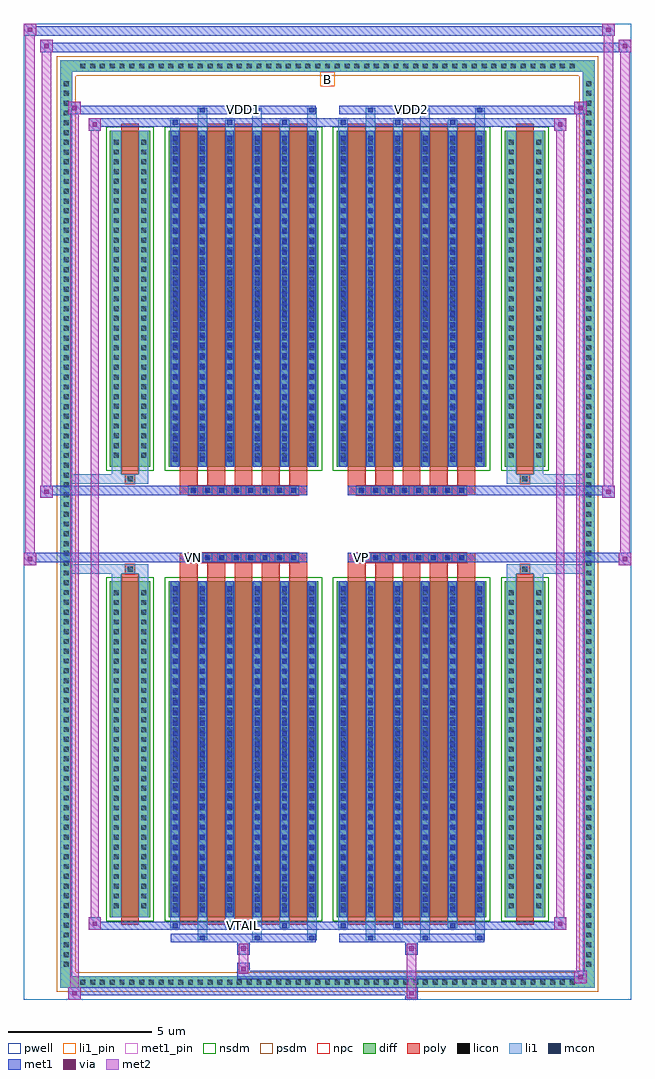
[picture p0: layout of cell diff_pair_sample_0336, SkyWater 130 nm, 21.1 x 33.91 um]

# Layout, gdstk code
import gdstk
lib = gdstk.Library(unit=1e-6, precision=5e-09)
def R(c, l, rs):  # rectangles x0, y0, x1, y1
    for r in rs: c.add(gdstk.rectangle(r[:2], r[2:], *l))
def A(c, l, x, y, w, h, nx, ny, dx, dy):  # array of equal rectangles
    R(c, l, [(x+i*dx, y+j*dy, x+i*dx+w, y+j*dy+h) for i in range(nx) for j in range(ny)])
def P(c, l, *ps):  # polygons
    for p in ps: c.add(gdstk.Polygon(p, *l))
pwell = (64, 44)
diff = (65, 20)
poly = (66, 20)
licon = (66, 44)
li1_pin = (67, 16)
li1 = (67, 20)
mcon = (67, 44)
met1_pin = (68, 16)
met1 = (68, 20)
via = (68, 44)
met2 = (69, 20)
nsdm = (93, 44)
psdm = (94, 20)
npc = (95, 20)

diff_pair_sample_0336 = lib.new_cell('diff_pair_sample_0336')
R(diff_pair_sample_0336, pwell, [(-10.55,-16.52,10.55,17.39), (-7.87,-14.71,-0.01,-0.805), (0.01,-14.71,7.87,-0.805), (-7.87,0.805,-0.01,14.71), (0.01,0.805,7.87,14.71)])
A(diff_pair_sample_0336, diff, -8.705, -16.12, 0.41, 0.41, 51, 2, 0.34, 31.83)
A(diff_pair_sample_0336, diff, -9.28, -15.505, 0.41, 0.41, 1, 91, 0, 0.34)
A(diff_pair_sample_0336, diff, 8.87, -15.505, 0.41, 0.41, 1, 91, 0, 0.34)
R(diff_pair_sample_0336, diff, [(-8.705,-16.12,8.705,-15.71), (-9.28,-15.505,-8.87,15.505), (8.87,-15.505,9.28,15.505), (-7.56,-13.665,-6.16,-1.985), (-5.52,-13.665,-0.32,-1.985), (0.32,-13.665,5.52,-1.985), (6.16,-13.665,7.56,-1.985), (-7.56,1.985,-6.16,13.665), (-5.52,1.985,-0.32,13.665), (0.32,1.985,5.52,13.665), (6.16,1.985,7.56,13.665), (-8.705,15.71,8.705,16.12)])
P(diff_pair_sample_0336, diff, [(9.28,16.12),(-9.28,16.12),(-9.28,-15.71),(-8.87,-15.71),(-8.87,15.71),(8.87,15.71),(8.87,-15.71),(-8.87,-15.71),(-9.28,-15.71),(-9.28,-16.12),(9.28,-16.12)])
A(diff_pair_sample_0336, poly, -5.13, -13.915, 0.62, 12.18, 5, 2, 0.95, 15.65)
A(diff_pair_sample_0336, poly, 0.71, -13.915, 0.62, 12.18, 5, 2, 0.95, 15.65)
A(diff_pair_sample_0336, poly, -5.13, -1.735, 0.62, 0.4, 5, 2, 0.95, 3.07)
A(diff_pair_sample_0336, poly, 0.71, -1.735, 0.62, 0.4, 5, 2, 0.95, 3.07)
A(diff_pair_sample_0336, poly, -4.835, -1.335, 0.33, 0.33, 8, 2, 0.5, 2.34)
A(diff_pair_sample_0336, poly, 1.005, -1.335, 0.33, 0.33, 8, 2, 0.5, 2.34)
R(diff_pair_sample_0336, poly, [(-7.17,-13.915,-6.55,-1.735), (6.55,-13.915,7.17,-1.735), (-7.025,-1.735,-6.695,-1.405), (-7.025,-1.735,-6.695,-1.405), (6.695,-1.735,7.025,-1.405), (6.695,-1.735,7.025,-1.405), (-5.13,-1.335,-0.71,-1.005), (0.71,-1.335,5.13,-1.005), (-5.13,1.005,-0.71,1.335), (0.71,1.005,5.13,1.335), (-7.025,1.405,-6.695,1.735), (-7.025,1.405,-6.695,1.735), (6.695,1.405,7.025,1.735), (6.695,1.405,7.025,1.735), (-7.17,1.735,-6.55,13.915), (6.55,1.735,7.17,13.915)])
A(diff_pair_sample_0336, licon, -8.585, -16, 0.17, 0.17, 51, 2, 0.34, 31.83)
A(diff_pair_sample_0336, licon, -9.16, -15.385, 0.17, 0.17, 1, 91, 0, 0.34)
A(diff_pair_sample_0336, licon, 8.99, -15.385, 0.17, 0.17, 1, 91, 0, 0.34)
A(diff_pair_sample_0336, licon, -7.42, -13.35, 0.17, 0.17, 1, 33, 0, 0.34)
A(diff_pair_sample_0336, licon, -6.47, -13.35, 0.17, 0.17, 1, 33, 0, 0.34)
A(diff_pair_sample_0336, licon, -5.38, -13.35, 0.17, 0.17, 6, 33, 0.95, 0.34)
A(diff_pair_sample_0336, licon, 0.46, -13.35, 0.17, 0.17, 6, 33, 0.95, 0.34)
A(diff_pair_sample_0336, licon, 6.3, -13.35, 0.17, 0.17, 1, 33, 0, 0.34)
A(diff_pair_sample_0336, licon, 7.25, -13.35, 0.17, 0.17, 1, 33, 0, 0.34)
A(diff_pair_sample_0336, licon, -4.755, -1.255, 0.17, 0.17, 8, 2, 0.5, 2.34)
A(diff_pair_sample_0336, licon, 1.085, -1.255, 0.17, 0.17, 8, 2, 0.5, 2.34)
A(diff_pair_sample_0336, licon, -7.42, 2.3, 0.17, 0.17, 1, 33, 0, 0.34)
A(diff_pair_sample_0336, licon, -6.47, 2.3, 0.17, 0.17, 1, 33, 0, 0.34)
A(diff_pair_sample_0336, licon, -5.38, 2.3, 0.17, 0.17, 6, 33, 0.95, 0.34)
A(diff_pair_sample_0336, licon, 0.46, 2.3, 0.17, 0.17, 6, 33, 0.95, 0.34)
A(diff_pair_sample_0336, licon, 6.3, 2.3, 0.17, 0.17, 1, 33, 0, 0.34)
A(diff_pair_sample_0336, licon, 7.25, 2.3, 0.17, 0.17, 1, 33, 0, 0.34)
R(diff_pair_sample_0336, licon, [(-6.945,-1.655,-6.775,-1.485), (6.775,-1.655,6.945,-1.485), (-6.945,1.485,-6.775,1.655), (6.775,1.485,6.945,1.655)])
R(diff_pair_sample_0336, li1_pin, [(-0.25,15.21,0.25,15.71)])
A(diff_pair_sample_0336, li1, -8.665, -16.08, 0.33, 0.33, 51, 2, 0.34, 31.83)
A(diff_pair_sample_0336, li1, -9.24, -15.465, 0.33, 0.33, 1, 91, 0, 0.34)
A(diff_pair_sample_0336, li1, 8.91, -15.465, 0.33, 0.33, 1, 91, 0, 0.34)
A(diff_pair_sample_0336, li1, -4.51, -14.47, 0.33, 0.805, 3, 2, 1.9, 28.135)
A(diff_pair_sample_0336, li1, -4.43, -14.47, 0.17, 0.17, 3, 2, 1.9, 28.77)
A(diff_pair_sample_0336, li1, 1.33, -14.47, 0.33, 0.805, 3, 2, 1.9, 28.135)
A(diff_pair_sample_0336, li1, 1.41, -14.47, 0.17, 0.17, 3, 2, 1.9, 28.77)
A(diff_pair_sample_0336, li1, -5.46, -14.04, 0.33, 0.375, 3, 2, 1.9, 27.705)
A(diff_pair_sample_0336, li1, -5.38, -14.04, 0.17, 0.17, 3, 2, 1.9, 27.91)
A(diff_pair_sample_0336, li1, 0.38, -14.04, 0.33, 0.375, 3, 2, 1.9, 27.705)
A(diff_pair_sample_0336, li1, 0.46, -14.04, 0.17, 0.17, 3, 2, 1.9, 27.91)
A(diff_pair_sample_0336, li1, -5.46, -13.665, 0.33, 11.68, 6, 2, 0.95, 15.65)
A(diff_pair_sample_0336, li1, 0.38, -13.665, 0.33, 11.68, 6, 2, 0.95, 15.65)
A(diff_pair_sample_0336, li1, -5.38, -13.49, 0.17, 0.17, 6, 32, 0.95, 0.36)
A(diff_pair_sample_0336, li1, -5.38, -13.49, 0.17, 11.33, 6, 2, 0.95, 15.65)
A(diff_pair_sample_0336, li1, 0.46, -13.49, 0.17, 0.17, 6, 32, 0.95, 0.36)
A(diff_pair_sample_0336, li1, 0.46, -13.49, 0.17, 11.33, 6, 2, 0.95, 15.65)
A(diff_pair_sample_0336, li1, -7.5, -13.43, 0.33, 0.33, 1, 33, 0, 0.34)
A(diff_pair_sample_0336, li1, -6.55, -13.43, 0.33, 0.33, 1, 33, 0, 0.34)
A(diff_pair_sample_0336, li1, -5.46, -13.43, 0.33, 0.33, 6, 33, 0.95, 0.34)
A(diff_pair_sample_0336, li1, 0.38, -13.43, 0.33, 0.33, 6, 33, 0.95, 0.34)
A(diff_pair_sample_0336, li1, 6.22, -13.43, 0.33, 0.33, 1, 33, 0, 0.34)
A(diff_pair_sample_0336, li1, 7.17, -13.43, 0.33, 0.33, 1, 33, 0, 0.34)
A(diff_pair_sample_0336, li1, -4.835, -1.335, 0.33, 0.33, 8, 2, 0.5, 2.34)
A(diff_pair_sample_0336, li1, 1.005, -1.335, 0.33, 0.33, 8, 2, 0.5, 2.34)
A(diff_pair_sample_0336, li1, -5.38, 2.16, 0.17, 0.17, 6, 32, 0.95, 0.36)
A(diff_pair_sample_0336, li1, 0.46, 2.16, 0.17, 0.17, 6, 32, 0.95, 0.36)
A(diff_pair_sample_0336, li1, -7.5, 2.22, 0.33, 0.33, 1, 33, 0, 0.34)
A(diff_pair_sample_0336, li1, -6.55, 2.22, 0.33, 0.33, 1, 33, 0, 0.34)
A(diff_pair_sample_0336, li1, -5.46, 2.22, 0.33, 0.33, 6, 33, 0.95, 0.34)
A(diff_pair_sample_0336, li1, 0.38, 2.22, 0.33, 0.33, 6, 33, 0.95, 0.34)
A(diff_pair_sample_0336, li1, 6.22, 2.22, 0.33, 0.33, 1, 33, 0, 0.34)
A(diff_pair_sample_0336, li1, 7.17, 2.22, 0.33, 0.33, 1, 33, 0, 0.34)
R(diff_pair_sample_0336, li1, [(-9.28,-16.12,-8.87,-15.71), (-9.28,-16.12,-8.87,-15.71), (-8.87,-16.12,8.87,-15.71), (8.87,-16.12,9.28,-15.71), (8.87,-16.12,9.28,-15.71), (-9.28,-15.71,-8.87,15.71), (8.87,-15.71,9.28,15.71), (-7.5,-13.665,-7.17,-1.985), (-6.55,-13.665,-6.22,-1.985), (6.22,-13.665,6.55,-1.985), (7.17,-13.665,7.5,-1.985), (-7.5,-1.985,-7.17,-1.405), (-6.55,-1.985,-6.22,-1.405), (6.22,-1.985,6.55,-1.405), (7.17,-1.985,7.5,-1.405), (-9.28,-1.735,-7.025,-1.405), (-7.5,-1.735,-7.025,-1.405), (-7.025,-1.735,-6.695,-1.405), (-6.695,-1.735,-6.22,-1.405), (6.22,-1.735,6.695,-1.405), (6.695,-1.735,7.025,-1.405), (6.695,-1.735,9.28,-1.405), (7.025,-1.735,7.5,-1.405), (-9.28,1.405,-7.025,1.735), (-7.5,1.405,-7.025,1.735), (-7.5,1.405,-7.17,1.985), (-7.025,1.405,-6.695,1.735), (-6.695,1.405,-6.22,1.735), (-6.55,1.405,-6.22,1.985), (6.22,1.405,6.695,1.735), (6.22,1.405,6.55,1.985), (6.695,1.405,7.025,1.735), (6.695,1.405,9.28,1.735), (7.025,1.405,7.5,1.735), (7.17,1.405,7.5,1.985), (-7.5,1.985,-7.17,13.665), (-6.55,1.985,-6.22,13.665), (6.22,1.985,6.55,13.665), (7.17,1.985,7.5,13.665), (-9.28,15.71,-8.87,16.12), (-9.28,15.71,-8.87,16.12), (-8.87,15.71,8.87,16.12), (8.87,15.71,9.28,16.12), (8.87,15.71,9.28,16.12)])
A(diff_pair_sample_0336, mcon, -4.43, -14.47, 0.17, 0.17, 3, 2, 1.9, 28.77)
A(diff_pair_sample_0336, mcon, 1.41, -14.47, 0.17, 0.17, 3, 2, 1.9, 28.77)
A(diff_pair_sample_0336, mcon, -5.38, -14.04, 0.17, 0.17, 3, 2, 1.9, 27.91)
A(diff_pair_sample_0336, mcon, 0.46, -14.04, 0.17, 0.17, 3, 2, 1.9, 27.91)
A(diff_pair_sample_0336, mcon, -5.38, -13.49, 0.17, 0.17, 6, 32, 0.95, 0.36)
A(diff_pair_sample_0336, mcon, 0.46, -13.49, 0.17, 0.17, 6, 32, 0.95, 0.36)
A(diff_pair_sample_0336, mcon, -4.755, -1.255, 0.17, 0.17, 8, 2, 0.5, 2.34)
A(diff_pair_sample_0336, mcon, 1.085, -1.255, 0.17, 0.17, 8, 2, 0.5, 2.34)
A(diff_pair_sample_0336, mcon, -5.38, 2.16, 0.17, 0.17, 6, 32, 0.95, 0.36)
A(diff_pair_sample_0336, mcon, 0.46, 2.16, 0.17, 0.17, 6, 32, 0.95, 0.36)
R(diff_pair_sample_0336, met1_pin, [(-3.055,-14.08,-2.785,-13.81), (-4.805,-1.295,-4.535,-1.025), (1.035,-1.295,1.305,-1.025), (-3.055,14.26,-2.785,14.53), (2.785,14.26,3.055,14.53)])
A(diff_pair_sample_0336, met1, -4.49, -14.53, 0.29, 0.29, 3, 2, 1.9, 28.77)
A(diff_pair_sample_0336, met1, 1.35, -14.53, 0.29, 0.29, 3, 2, 1.9, 28.77)
A(diff_pair_sample_0336, met1, -5.44, -14.1, 0.29, 0.29, 3, 2, 1.9, 27.91)
A(diff_pair_sample_0336, met1, 0.4, -14.1, 0.29, 0.29, 3, 2, 1.9, 27.91)
A(diff_pair_sample_0336, met1, -5.44, -13.665, 0.29, 11.68, 6, 2, 0.95, 15.65)
A(diff_pair_sample_0336, met1, 0.4, -13.665, 0.29, 11.68, 6, 2, 0.95, 15.65)
A(diff_pair_sample_0336, met1, -5.44, -13.55, 0.29, 0.29, 6, 32, 0.95, 0.36)
A(diff_pair_sample_0336, met1, 0.4, -13.55, 0.29, 0.29, 6, 32, 0.95, 0.36)
A(diff_pair_sample_0336, met1, -4.815, -1.315, 0.29, 0.29, 8, 2, 0.5, 2.34)
A(diff_pair_sample_0336, met1, 1.025, -1.315, 0.29, 0.29, 8, 2, 0.5, 2.34)
A(diff_pair_sample_0336, met1, -5.44, 2.1, 0.29, 0.29, 6, 32, 0.95, 0.36)
A(diff_pair_sample_0336, met1, 0.4, 2.1, 0.29, 0.29, 6, 32, 0.95, 0.36)
R(diff_pair_sample_0336, met1, [(-9.01,-16.52,-8.58,-16.09), (2.705,-16.52,3.135,-16.09), (-9.01,-16.38,3.135,-16.09), (8.58,-15.95,9.01,-15.52), (-3.135,-15.81,9.01,-15.52), (-3.135,-15.67,-2.705,-15.24), (-3.135,-14.96,-2.705,-14.53), (2.705,-14.96,3.135,-14.53), (-5.44,-14.53,-0.4,-14.24), (0.4,-14.53,5.44,-14.24), (-8.3,-14.1,-7.87,-13.67), (-8.3,-14.1,-5.44,-13.81), (-5.44,-14.1,-0.4,-13.81), (-0.4,-14.1,0.4,-13.81), (0.4,-14.1,5.44,-13.81), (5.44,-14.1,8.3,-13.81), (7.87,-14.1,8.3,-13.67), (-10.55,-1.435,-10.12,-1.005), (10.12,-1.435,10.55,-1.005), (-10.55,-1.335,-0.71,-1.005), (-5.13,-1.335,-0.71,-1.005), (0.71,-1.335,5.13,-1.005), (0.71,-1.335,10.55,-1.005), (-9.98,0.905,-9.55,1.335), (9.55,0.905,9.98,1.335), (-9.98,1.005,-5.13,1.335), (-5.13,1.005,-0.71,1.335), (0.71,1.005,5.13,1.335), (5.13,1.005,9.98,1.335), (-8.3,13.67,-7.87,14.1), (7.87,13.67,8.3,14.1), (-8.3,13.81,-5.44,14.1), (-5.44,13.81,-0.4,14.1), (-0.4,13.81,0.4,14.1), (0.4,13.81,5.44,14.1), (5.44,13.81,8.3,14.1), (-9.01,14.24,-8.58,14.67), (-9.01,14.24,-5.44,14.53), (-5.44,14.24,-0.4,14.53), (0.4,14.24,5.44,14.53), (5.44,14.24,9.01,14.53), (8.58,14.24,9.01,14.67), (-9.98,16.39,-9.55,16.82), (-9.98,16.39,-7.87,16.72), (-7.87,16.39,7.87,16.72), (7.87,16.39,10.55,16.72), (10.12,16.39,10.55,16.82), (-10.55,16.96,-10.12,17.39), (-10.55,16.96,-7.87,17.29), (-7.87,16.96,7.87,17.29), (7.87,16.96,9.98,17.29), (9.55,16.96,9.98,17.39)])
R(diff_pair_sample_0336, via, [(-8.87,-16.38,-8.72,-16.23), (2.845,-16.38,2.995,-16.23), (8.72,-15.81,8.87,-15.66), (-2.995,-15.53,-2.845,-15.38), (-2.995,-14.82,-2.845,-14.67), (2.845,-14.82,2.995,-14.67), (-8.16,-13.96,-8.01,-13.81), (8.01,-13.96,8.16,-13.81), (-10.41,-1.295,-10.26,-1.145), (10.26,-1.295,10.41,-1.145), (-9.84,1.045,-9.69,1.195), (9.69,1.045,9.84,1.195), (-8.16,13.81,-8.01,13.96), (8.01,13.81,8.16,13.96), (-8.87,14.38,-8.72,14.53), (8.72,14.38,8.87,14.53), (-9.84,16.53,-9.69,16.68), (10.26,16.53,10.41,16.68), (-10.41,17.1,-10.26,17.25), (9.69,17.1,9.84,17.25)])
R(diff_pair_sample_0336, met2, [(-9.01,-16.52,-8.58,-16.09), (-8.94,-16.52,-8.65,14.67), (-8.65,-16.52,-8.58,-16.09), (-8.96,-16.47,-8.63,-16.14), (2.755,-16.47,3.085,-16.14), (2.755,-16.14,3.085,-14.91), (8.58,-15.95,9.01,-15.52), (8.65,-15.95,8.94,14.67), (8.94,-15.95,9.01,-15.52), (8.63,-15.9,8.96,-15.57), (-3.085,-15.62,-2.755,-15.29), (-3.085,-15.29,-2.755,-14.91), (-3.085,-14.91,-2.755,-14.58), (2.755,-14.91,3.085,-14.58), (-8.3,-14.1,-7.87,-13.67), (-8.23,-14.1,-7.94,14.1), (-7.94,-14.1,-7.87,-13.67), (7.87,-14.1,8.3,-13.67), (7.94,-14.1,8.23,14.1), (8.23,-14.1,8.3,-13.67), (-8.25,-14.05,-7.92,-13.72), (7.92,-14.05,8.25,-13.72), (-10.55,-1.435,-10.12,-1.005), (-10.5,-1.435,-10.17,17.39), (-10.17,-1.435,-10.12,-1.005), (10.12,-1.435,10.55,-1.005), (10.17,-1.435,10.5,16.82), (10.5,-1.435,10.55,-1.005), (-10.5,-1.385,-10.17,-1.055), (10.17,-1.385,10.5,-1.055), (-9.98,0.905,-9.55,1.335), (-9.93,0.905,-9.6,16.82), (-9.6,0.905,-9.55,1.335), (9.55,0.905,9.98,1.335), (9.6,0.905,9.93,17.39), (9.93,0.905,9.98,1.335), (-9.93,0.955,-9.6,1.285), (9.6,0.955,9.93,1.285), (-8.3,13.67,-7.87,14.1), (-7.94,13.67,-7.87,14.1), (7.87,13.67,8.3,14.1), (8.23,13.67,8.3,14.1), (-8.25,13.72,-7.92,14.05), (7.92,13.72,8.25,14.05), (-9.01,14.24,-8.58,14.67), (-8.65,14.24,-8.58,14.67), (8.58,14.24,9.01,14.67), (8.94,14.24,9.01,14.67), (-8.96,14.29,-8.63,14.62), (8.63,14.29,8.96,14.62), (-9.98,16.39,-9.55,16.82), (-9.6,16.39,-9.55,16.82), (10.12,16.39,10.55,16.82), (10.5,16.39,10.55,16.82), (-9.93,16.44,-9.6,16.77), (10.17,16.44,10.5,16.77), (-10.55,16.96,-10.12,17.39), (-10.17,16.96,-10.12,17.39), (9.55,16.96,9.98,17.39), (9.93,16.96,9.98,17.39), (-10.5,17.01,-10.17,17.34), (9.6,17.01,9.93,17.34)])
R(diff_pair_sample_0336, nsdm, [(-7.69,-13.795,-6.03,-1.855), (-5.65,-13.795,-0.19,-1.855), (0.19,-13.795,5.65,-1.855), (6.03,-13.795,7.69,-1.855), (-7.69,1.855,-6.03,13.795), (-5.65,1.855,-0.19,13.795), (0.19,1.855,5.65,13.795), (6.03,1.855,7.69,13.795)])
P(diff_pair_sample_0336, psdm, [(9.41,16.25),(-9.41,16.25),(-9.41,-15.58),(-8.74,-15.58),(-8.74,15.58),(8.74,15.58),(8.74,-15.58),(-8.74,-15.58),(-9.41,-15.58),(-9.41,-16.25),(9.41,-16.25)])
A(diff_pair_sample_0336, npc, -4.855, -1.355, 0.37, 0.37, 8, 2, 0.5, 2.34)
A(diff_pair_sample_0336, npc, 0.985, -1.355, 0.37, 0.37, 8, 2, 0.5, 2.34)
R(diff_pair_sample_0336, npc, [(-7.045,-1.755,-6.675,-1.385), (6.675,-1.755,7.045,-1.385), (-4.855,-1.355,-3.985,-0.985), (-4.855,-1.355,-3.985,-0.985), (-4.355,-1.355,-3.485,-0.985), (-4.355,-1.355,-3.485,-0.985), (-3.855,-1.355,-2.985,-0.985), (-3.855,-1.355,-2.985,-0.985), (-3.355,-1.355,-2.485,-0.985), (-3.355,-1.355,-2.485,-0.985), (-2.855,-1.355,-1.985,-0.985), (-2.855,-1.355,-1.985,-0.985), (-2.355,-1.355,-1.485,-0.985), (-2.355,-1.355,-1.485,-0.985), (-1.855,-1.355,-0.985,-0.985), (-1.855,-1.355,-0.985,-0.985), (0.985,-1.355,1.855,-0.985), (0.985,-1.355,1.855,-0.985), (1.485,-1.355,2.355,-0.985), (1.485,-1.355,2.355,-0.985), (1.985,-1.355,2.855,-0.985), (1.985,-1.355,2.855,-0.985), (2.485,-1.355,3.355,-0.985), (2.485,-1.355,3.355,-0.985), (2.985,-1.355,3.855,-0.985), (2.985,-1.355,3.855,-0.985), (3.485,-1.355,4.355,-0.985), (3.485,-1.355,4.355,-0.985), (3.985,-1.355,4.855,-0.985), (3.985,-1.355,4.855,-0.985), (-4.855,0.985,-3.985,1.355), (-4.855,0.985,-3.985,1.355), (-4.355,0.985,-3.485,1.355), (-4.355,0.985,-3.485,1.355), (-3.855,0.985,-2.985,1.355), (-3.855,0.985,-2.985,1.355), (-3.355,0.985,-2.485,1.355), (-3.355,0.985,-2.485,1.355), (-2.855,0.985,-1.985,1.355), (-2.855,0.985,-1.985,1.355), (-2.355,0.985,-1.485,1.355), (-2.355,0.985,-1.485,1.355), (-1.855,0.985,-0.985,1.355), (-1.855,0.985,-0.985,1.355), (0.985,0.985,1.855,1.355), (0.985,0.985,1.855,1.355), (1.485,0.985,2.355,1.355), (1.485,0.985,2.355,1.355), (1.985,0.985,2.855,1.355), (1.985,0.985,2.855,1.355), (2.485,0.985,3.355,1.355), (2.485,0.985,3.355,1.355), (2.985,0.985,3.855,1.355), (2.985,0.985,3.855,1.355), (3.485,0.985,4.355,1.355), (3.485,0.985,4.355,1.355), (3.985,0.985,4.855,1.355), (3.985,0.985,4.855,1.355), (-7.045,1.385,-6.675,1.755), (6.675,1.385,7.045,1.755)])
diff_pair_sample_0336.add(gdstk.Label('VTAIL', (-2.92,-13.945), layer=68, texttype=5))
diff_pair_sample_0336.add(gdstk.Label('VN', (-4.67,-1.16), layer=68, texttype=5))
diff_pair_sample_0336.add(gdstk.Label('VP', (1.17,-1.16), layer=68, texttype=5))
diff_pair_sample_0336.add(gdstk.Label('B', (0,15.46), layer=67, texttype=5))
diff_pair_sample_0336.add(gdstk.Label('VDD2', (2.92,14.395), layer=68, texttype=5))
diff_pair_sample_0336.add(gdstk.Label('VDD1', (-2.92,14.395), layer=68, texttype=5))

lib.write_gds('diff_pair_sample_0336.gds')
